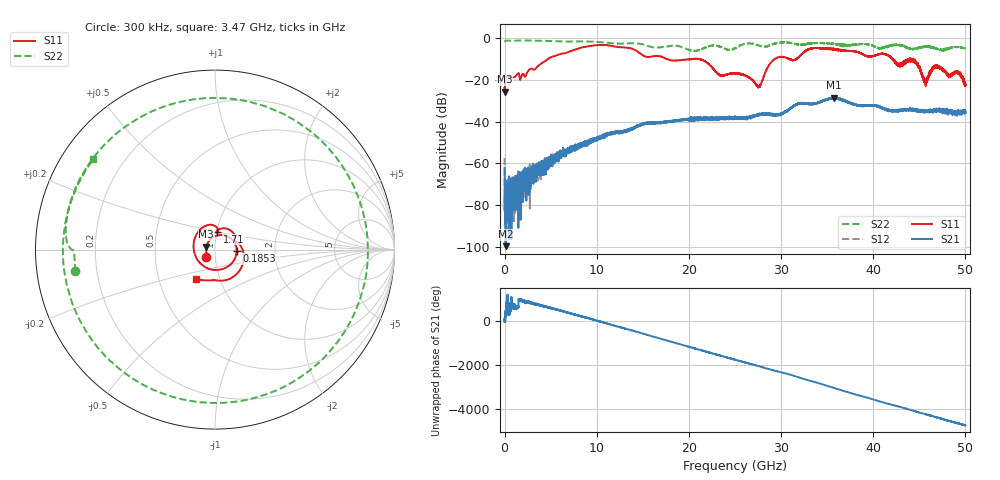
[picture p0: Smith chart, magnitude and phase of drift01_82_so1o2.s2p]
!Created with skrf (http://scikit-rf.org).
# Hz S RI R 50.0
!freq ReS11 ImS11 ReS21 ImS21 ReS12 ImS12 ReS22 ImS22
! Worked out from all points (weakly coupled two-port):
!   10001 points, 300 kHz to 50 GHz, reference 50 ohm
!   highest |S21| = -28.70 dB at 35.71 GHz (marker M1); lowest = -99.5 dB at 105.3 MHz (marker M2)
!   lowest |S11| = -25.8 dB at 5.3 MHz (marker M3), VSWR 1.11, Z = 45.3 + j1.43 ohm
!   |S11| at or under -10 dB: start of sweep to 4.766 GHz; 17.53 GHz to 29.38 GHz (11.86 GHz wide, 50.6 % of centre); 44.27 GHz to end of sweep (the widest 3 of 9)
!   |S22| runs from -6.4 to -1.4 dB; largest |S21 - S12| = 0.004
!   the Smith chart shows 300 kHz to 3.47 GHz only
!   S11 on the Smith chart (normalised r, x): 300 kHz: 0.90, -0.07; 185.3 MHz: 1.27, -0.02; 1.71 GHz: 1.00, +0.20; 3.47 GHz: 0.77, -0.26
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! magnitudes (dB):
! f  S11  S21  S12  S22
! 300 kHz  -23.9  -62.1  -57.4  -2.1
! 5.3 MHz  -25.8  -73.6  -76.6  -2.1
! 105.3 MHz  -18.9  -99.5  -79.5  -1.5
! 185.3 MHz  -18.4  -78.3  -80.1  -1.4
! 900.3 MHz  -19.0  -69.9  -71.2  -1.5
! 1.71 GHz  -20.0  -73.6  -70.4  -1.4
! 3.47 GHz  -14.3  -63.6  -62.5  -1.5
! 8.335 GHz  -4.8  -51.5  -50.9  -1.8
! 16.67 GHz  -8.8  -40.6  -40.6  -4.8
! 21.21 GHz  -10.3  -38.3  -38.4  -5.8
! 25 GHz  -17.0  -37.8  -38.6  -5.0
! 27.59 GHz  -23.2  -36.7  -36.8  -3.7
! 29.3 GHz  -10.3  -36.8  -36.8  -2.9
! 31.49 GHz  -10.6  -32.3  -32.4  -3.0
! 33.34 GHz  -5.1  -31.6  -31.5  -2.7
! 35.71 GHz  -5.5  -28.7  -28.9  -3.1
! 41.67 GHz  -8.5  -34.6  -34.7  -4.0
! 42.83 GHz  -12.5  -34.8  -34.9  -3.5
! 44.48 GHz  -10.6  -34.6  -34.6  -5.3
! 45.63 GHz  -20.4  -35.4  -34.9  -4.3
! 46.92 GHz  -13.7  -34.8  -34.8  -5.5
! 50 GHz  -22.0  -35.8  -35.5  -5.3
